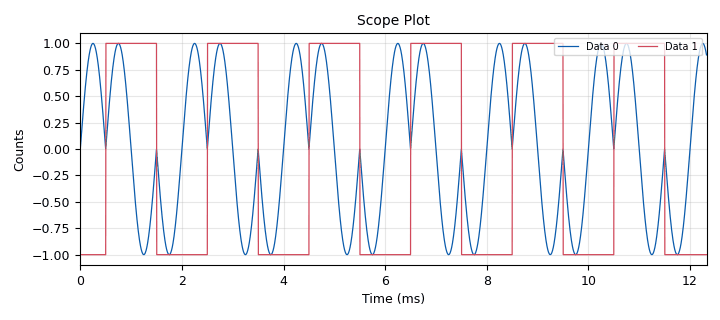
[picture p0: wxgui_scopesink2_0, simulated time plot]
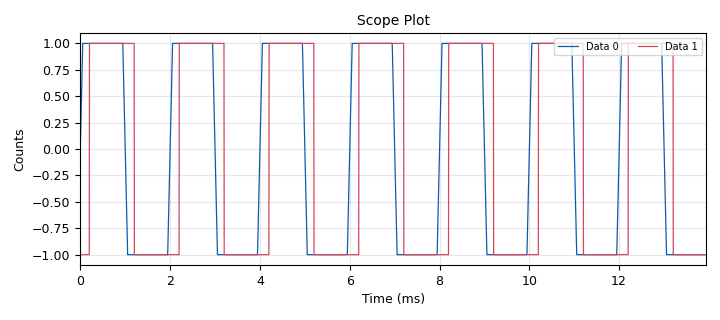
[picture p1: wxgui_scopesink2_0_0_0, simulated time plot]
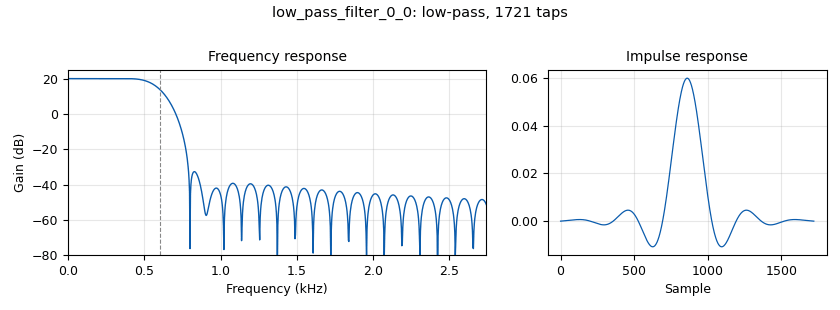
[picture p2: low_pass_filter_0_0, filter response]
<?xml version='1.0' encoding='utf-8'?>
<?grc format='1' created='3.7.11'?>
<flow_graph>
<block>
<key>options</key>
<param><key>id</key><value>top_block</value></param>
<param><key>category</key><value>Custom</value></param>
<param><key>generate_options</key><value>wx_gui</value></param>
</block>
<block>
<key>variable_slider</key>
<param><key>id</key><value>frec_moduladora</value></param>
<param><key>converver</key><value>float_converter</value></param>
<param><key>value</key><value>500</value></param>
<param><key>label</key><value></value></param>
<param><key>max</key><value>3e3</value></param>
<param><key>min</key><value>0</value></param>
<param><key>num_steps</key><value>100</value></param>
<param><key>style</key><value>wx.SL_HORIZONTAL</value></param>
</block>
<block>
<key>variable_slider</key>
<param><key>id</key><value>frec_portadora</value></param>
<param><key>converver</key><value>float_converter</value></param>
<param><key>value</key><value>1e3</value></param>
<param><key>label</key><value></value></param>
<param><key>max</key><value>15e3</value></param>
<param><key>min</key><value>0</value></param>
<param><key>num_steps</key><value>100</value></param>
<param><key>style</key><value>wx.SL_HORIZONTAL</value></param>
</block>
<block>
<key>variable</key>
<param><key>id</key><value>samp_rate</value></param>
<param><key>value</key><value>200e3</value></param>
</block>
<block>
<key>analog_sig_source_x</key>
<param><key>id</key><value>analog_sig_source_x_0</value></param>
<param><key>amp</key><value>1</value></param>
<param><key>freq</key><value>frec_portadora</value></param>
<param><key>offset</key><value>0</value></param>
<param><key>type</key><value>float</value></param>
<param><key>samp_rate</key><value>samp_rate</value></param>
<param><key>waveform</key><value>analog.GR_SIN_WAVE</value></param>
</block>
<block>
<key>analog_sig_source_x</key>
<param><key>id</key><value>analog_sig_source_x_1</value></param>
<param><key>amp</key><value>2</value></param>
<param><key>freq</key><value>frec_moduladora</value></param>
<param><key>offset</key><value>-1</value></param>
<param><key>type</key><value>float</value></param>
<param><key>samp_rate</key><value>samp_rate</value></param>
<param><key>waveform</key><value>analog.GR_SQR_WAVE</value></param>
</block>
<block>
<key>blocks_abs_xx</key>
<param><key>id</key><value>blocks_abs_xx_0</value></param>
<param><key>type</key><value>float</value></param>
</block>
<block>
<key>blocks_multiply_xx</key>
<param><key>id</key><value>blocks_multiply_xx_0</value></param>
<param><key>type</key><value>float</value></param>
</block>
<block>
<key>blocks_multiply_xx</key>
<param><key>id</key><value>blocks_multiply_xx_1</value></param>
<param><key>type</key><value>float</value></param>
</block>
<block>
<key>blocks_throttle</key>
<param><key>id</key><value>blocks_throttle_0</value></param>
<param><key>samples_per_second</key><value>samp_rate</value></param>
<param><key>type</key><value>float</value></param>
</block>
<block>
<key>blocks_throttle</key>
<param><key>id</key><value>blocks_throttle_1</value></param>
<param><key>samples_per_second</key><value>samp_rate</value></param>
<param><key>type</key><value>float</value></param>
</block>
<block>
<key>channels_quantizer</key>
<param><key>id</key><value>channels_quantizer_0</value></param>
<param><key>bits</key><value>16</value></param>
</block>
<block>
<key>low_pass_filter</key>
<param><key>id</key><value>low_pass_filter_0_0</value></param>
<param><key>cutoff_freq</key><value>600</value></param>
<param><key>decim</key><value>1</value></param>
<param><key>type</key><value>fir_filter_fff</value></param>
<param><key>gain</key><value>10</value></param>
<param><key>samp_rate</key><value>samp_rate</value></param>
<param><key>width</key><value>280</value></param>
<param><key>win</key><value>firdes.WIN_HAMMING</value></param>
</block>
<block>
<key>notebook</key>
<param><key>id</key><value>nb</value></param>
<param><key>labels</key><value>[ 'mod BPSK', 'demod  floatPSK']</value></param>
<param><key>style</key><value>wx.NB_TOP</value></param>
</block>
<block>
<key>wxgui_scopesink2</key>
<param><key>id</key><value>wxgui_scopesink2_0</value></param>
<param><key>ac_couple</key><value>False</value></param>
<param><key>notebook</key><value>nb,0</value></param>
<param><key>num_inputs</key><value>2</value></param>
<param><key>samp_rate</key><value>samp_rate</value></param>
<param><key>t_scale</key><value>0</value></param>
<param><key>title</key><value>Scope Plot</value></param>
<param><key>trig_mode</key><value>wxgui.TRIG_MODE_AUTO</value></param>
<param><key>type</key><value>float</value></param>
<param><key>v_offset</key><value>0</value></param>
<param><key>v_scale</key><value>0</value></param>
<param><key>xy_mode</key><value>False</value></param>
<param><key>y_axis_label</key><value>Counts</value></param>
</block>
<block>
<key>wxgui_scopesink2</key>
<param><key>id</key><value>wxgui_scopesink2_0_0_0</value></param>
<param><key>ac_couple</key><value>False</value></param>
<param><key>notebook</key><value>nb,1</value></param>
<param><key>num_inputs</key><value>2</value></param>
<param><key>samp_rate</key><value>samp_rate</value></param>
<param><key>t_scale</key><value>0</value></param>
<param><key>title</key><value>Scope Plot</value></param>
<param><key>trig_mode</key><value>wxgui.TRIG_MODE_AUTO</value></param>
<param><key>type</key><value>float</value></param>
<param><key>v_offset</key><value>0</value></param>
<param><key>v_scale</key><value>0</value></param>
<param><key>xy_mode</key><value>False</value></param>
<param><key>y_axis_label</key><value>Counts</value></param>
</block>
<connection><source_block_id>analog_sig_source_x_0</source_block_id><sink_block_id>blocks_throttle_0</sink_block_id><source_key>0</source_key><sink_key>0</sink_key></connection>
<connection><source_block_id>analog_sig_source_x_1</source_block_id><sink_block_id>blocks_throttle_1</sink_block_id><source_key>0</source_key><sink_key>0</sink_key></connection>
<connection><source_block_id>blocks_abs_xx_0</source_block_id><sink_block_id>blocks_multiply_xx_1</sink_block_id><source_key>0</source_key><sink_key>0</sink_key></connection>
<connection><source_block_id>blocks_multiply_xx_0</source_block_id><sink_block_id>blocks_abs_xx_0</sink_block_id><source_key>0</source_key><sink_key>0</sink_key></connection>
<connection><source_block_id>blocks_multiply_xx_0</source_block_id><sink_block_id>blocks_multiply_xx_1</sink_block_id><source_key>0</source_key><sink_key>1</sink_key></connection>
<connection><source_block_id>blocks_multiply_xx_0</source_block_id><sink_block_id>wxgui_scopesink2_0</sink_block_id><source_key>0</source_key><sink_key>0</sink_key></connection>
<connection><source_block_id>blocks_multiply_xx_1</source_block_id><sink_block_id>low_pass_filter_0_0</sink_block_id><source_key>0</source_key><sink_key>0</sink_key></connection>
<connection><source_block_id>blocks_throttle_0</source_block_id><sink_block_id>blocks_multiply_xx_0</sink_block_id><source_key>0</source_key><sink_key>0</sink_key></connection>
<connection><source_block_id>blocks_throttle_1</source_block_id><sink_block_id>blocks_multiply_xx_0</sink_block_id><source_key>0</source_key><sink_key>1</sink_key></connection>
<connection><source_block_id>blocks_throttle_1</source_block_id><sink_block_id>wxgui_scopesink2_0</sink_block_id><source_key>0</source_key><sink_key>1</sink_key></connection>
<connection><source_block_id>blocks_throttle_1</source_block_id><sink_block_id>wxgui_scopesink2_0_0_0</sink_block_id><source_key>0</source_key><sink_key>1</sink_key></connection>
<connection><source_block_id>channels_quantizer_0</source_block_id><sink_block_id>wxgui_scopesink2_0_0_0</sink_block_id><source_key>0</source_key><sink_key>0</sink_key></connection>
<connection><source_block_id>low_pass_filter_0_0</source_block_id><sink_block_id>channels_quantizer_0</sink_block_id><source_key>0</source_key><sink_key>0</sink_key></connection>
</flow_graph>
